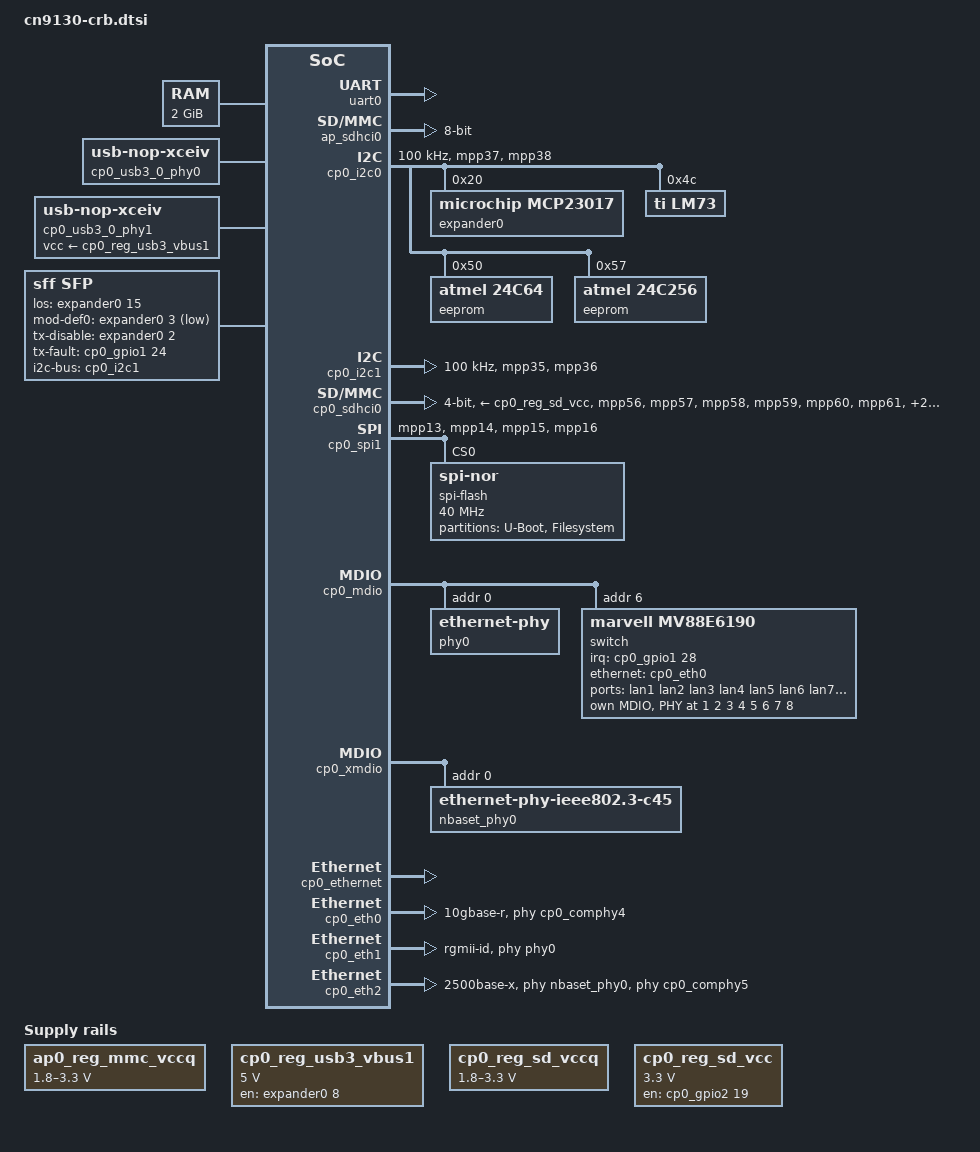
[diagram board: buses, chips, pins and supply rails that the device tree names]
// SPDX-License-Identifier: GPL-2.0+
/*
 * Copyright (C) 2020 Marvell International Ltd.
 */

#include "cn9130.dtsi" /* include SoC device tree */

#include <dt-bindings/gpio/gpio.h>

/ {
	chosen {
		stdout-path = "serial0:115200n8";
	};

	aliases {
		i2c0 = &cp0_i2c0;
		ethernet0 = &cp0_eth0;
		ethernet1 = &cp0_eth1;
		ethernet2 = &cp0_eth2;
	};

	memory@0 {
		device_type = "memory";
		reg = <0x0 0x0 0x0 0x80000000>;
	};

	ap0_reg_mmc_vccq: ap0_mmc_vccq@0 {
		compatible = "regulator-gpio";
		regulator-name = "ap0_mmc_vccq";
		regulator-min-microvolt = <1800000>;
		regulator-max-microvolt = <3300000>;
		gpios = <&expander0 5 GPIO_ACTIVE_HIGH>;
		states = <1800000 0x1
			  3300000 0x0>;
	};

	cp0_reg_usb3_vbus1: cp0_usb3_vbus@1 {
		compatible = "regulator-fixed";
		regulator-name = "cp0-xhci1-vbus";
		regulator-min-microvolt = <5000000>;
		regulator-max-microvolt = <5000000>;
		enable-active-high;
		gpio = <&expander0 8 GPIO_ACTIVE_HIGH>;
	};

	cp0_usb3_0_phy0: cp0_usb3_phy0 {
		compatible = "usb-nop-xceiv";
	};

	cp0_usb3_0_phy1: cp0_usb3_phy1 {
		compatible = "usb-nop-xceiv";
		vcc-supply = <&cp0_reg_usb3_vbus1>;
	};

	cp0_reg_sd_vccq: cp0_sd_vccq@0 {
		compatible = "regulator-gpio";
		regulator-name = "cp0_sd_vccq";
		regulator-min-microvolt = <1800000>;
		regulator-max-microvolt = <3300000>;
		gpios = <&cp0_gpio2 18 GPIO_ACTIVE_HIGH>;
		states = <1800000 0x1
			  3300000 0x0>;
	};

	cp0_reg_sd_vcc: cp0_sd_vcc@0 {
		compatible = "regulator-fixed";
		regulator-name = "cp0_sd_vcc";
		regulator-min-microvolt = <3300000>;
		regulator-max-microvolt = <3300000>;
		gpio = <&cp0_gpio2 19 GPIO_ACTIVE_HIGH>;
		enable-active-high;
		regulator-always-on;
	};

	sfp: sfp {
		compatible = "sff,sfp";
		i2c-bus = <&cp0_i2c1>;
		los-gpios = <&expander0 15 GPIO_ACTIVE_HIGH>;
		mod-def0-gpios = <&expander0 3 GPIO_ACTIVE_LOW>;
		tx-disable-gpios = <&expander0 2 GPIO_ACTIVE_HIGH>;
		tx-fault-gpios = <&cp0_gpio1 24 GPIO_ACTIVE_HIGH>;
		maximum-power-milliwatt = <2000>;
	};
};

&uart0 {
	status = "okay";
};

/* on-board eMMC U6 */
&ap_sdhci0 {
	pinctrl-names = "default";
	bus-width = <8>;
	status = "okay";
	mmc-ddr-1_8v;
	vqmmc-supply = <&ap0_reg_mmc_vccq>;
};

&cp0_syscon0 {
	cp0_pinctrl: pinctrl {
		compatible = "marvell,cp115-standalone-pinctrl";

		cp0_i2c0_pins: cp0-i2c-pins-0 {
			marvell,pins = "mpp37", "mpp38";
			marvell,function = "i2c0";
		};
		cp0_i2c1_pins: cp0-i2c-pins-1 {
			marvell,pins = "mpp35", "mpp36";
			marvell,function = "i2c1";
		};
		cp0_sdhci_cd_pins_crb: cp0-sdhci-cd-pins-crb {
			marvell,pins = "mpp55";
			marvell,function = "gpio";
		};
		cp0_sdhci_pins: cp0-sdhi-pins-0 {
			marvell,pins = "mpp56", "mpp57", "mpp58",
				       "mpp59", "mpp60", "mpp61";
			marvell,function = "sdio";
		};
		cp0_spi0_pins: cp0-spi-pins-0 {
			marvell,pins = "mpp13", "mpp14", "mpp15", "mpp16";
			marvell,function = "spi1";
		};
	};
};

&cp0_i2c0 {
	pinctrl-names = "default";
	pinctrl-0 = <&cp0_i2c0_pins>;
	status = "okay";
	clock-frequency = <100000>;
	expander0: mcp23x17@20 {
		compatible = "microchip,mcp23017";
		gpio-controller;
		#gpio-cells = <2>;
		reg = <0x20>;
		status = "okay";
	};

	lm73@4c {
		compatible = "ti,lm73";
		reg = <0x4c>;
	};

	eeprom@50 {
		compatible = "atmel,24c64";
		reg = <0x50>;
	};

	eeprom@57 {
		compatible = "atmel,24c256";
		reg = <0x57>;
	};
};

&cp0_i2c1 {
	pinctrl-names = "default";
	pinctrl-0 = <&cp0_i2c1_pins>;
	clock-frequency = <100000>;
	status = "okay";
};


&cp0_sdhci0 {
	pinctrl-names = "default";
	pinctrl-0 = <&cp0_sdhci_pins
		     &cp0_sdhci_cd_pins_crb>;
	bus-width = <4>;
	cd-gpios = <&cp0_gpio2 23 GPIO_ACTIVE_HIGH>;
	vqmmc-supply = <&cp0_reg_sd_vccq>;
	vmmc-supply = <&cp0_reg_sd_vcc>;
	status = "okay";
};

&cp0_spi1 {
	pinctrl-names = "default";
	pinctrl-0 = <&cp0_spi0_pins>;
	reg = <0x700680 0x50>,		/* control */
	      <0x2000000 0x1000000>;	/* CS0 */
	status = "okay";

	spi-flash@0 {
		#address-cells = <0x1>;
		#size-cells = <0x1>;
		compatible = "jedec,spi-nor";
		reg = <0x0>;
		/* On-board MUX does not allow higher frequencies */
		spi-max-frequency = <40000000>;

		partitions {
			compatible = "fixed-partitions";
			#address-cells = <1>;
			#size-cells = <1>;

			partition@0 {
				label = "U-Boot";
				reg = <0x0 0x200000>;
			};

			partition@400000 {
				label = "Filesystem";
				reg = <0x200000 0xe00000>;
			};
		};
	};
};

&cp0_mdio {
	status = "okay";
	phy0: ethernet-phy@0 {
		reg = <0>;
	};

	switch: switch@6 {
		compatible = "marvell,mv88e6190";
		reg = <6>;

		interrupt-parent = <&cp0_gpio1>;
		interrupts = <28 IRQ_TYPE_LEVEL_LOW>;

		ports {
			#address-cells = <1>;
			#size-cells = <0>;

			port@1 {
				reg = <1>;
				label = "lan1";
				phy-handle = <&swphy1>;
			};

			port@2 {
				reg = <2>;
				label = "lan2";
				phy-handle = <&swphy2>;
			};

			port@3 {
				reg = <3>;
				label = "lan3";
				phy-handle = <&swphy3>;
			};

			port@4 {
				reg = <4>;
				label = "lan4";
				phy-handle = <&swphy4>;
			};

			port@5 {
				reg = <5>;
				label = "lan5";
				phy-handle = <&swphy5>;
			};

			port@6 {
				reg = <6>;
				label = "lan6";
				phy-handle = <&swphy6>;
			};

			port@7 {
				reg = <7>;
				label = "lan7";
				phy-handle = <&swphy7>;
			};

			port@8 {
				reg = <8>;
				label = "lan8";
				phy-handle = <&swphy8>;
			};

			port@9 {
				reg = <9>;
				label = "sfp";
				phy-mode = "10gbase-r";
				managed = "in-band-status";
				sfp = <&sfp>;
			};

			port@10 {
				reg = <10>;
				label = "cpu";
				ethernet = <&cp0_eth0>;
			};
		};

		mdio {
			#address-cells = <1>;
			#size-cells = <0>;

			swphy1: swphy1@1 {
				reg = <1>;
			};

			swphy2: swphy2@2 {
				reg = <2>;
			};

			swphy3: swphy3@3 {
				reg = <3>;
			};

			swphy4: swphy4@4 {
				reg = <4>;
			};

			swphy5: swphy5@5 {
				reg = <5>;
			};

			swphy6: swphy6@6 {
				reg = <6>;
			};

			swphy7: swphy7@7 {
				reg = <7>;
			};

			swphy8: swphy8@8 {
				reg = <8>;
			};
		};
	};
};

&cp0_xmdio {
	status = "okay";
	nbaset_phy0: ethernet-phy@0 {
		compatible = "ethernet-phy-ieee802.3-c45";
		reg = <0>;
	};
};

&cp0_ethernet {
	status = "okay";
};

&cp0_eth0 {
	/* This port is connected to 88E6393X switch */
	status = "okay";
	phy-mode = "10gbase-r";
	managed = "in-band-status";
	phys = <&cp0_comphy4 0>;
};

&cp0_eth1 {
	status = "okay";
	phy = <&phy0>;
	phy-mode = "rgmii-id";
};

&cp0_eth2 {
	status = "okay";
	phy-mode = "2500base-x";
	phy = <&nbaset_phy0>;
	phys = <&cp0_comphy5 2>;
};

